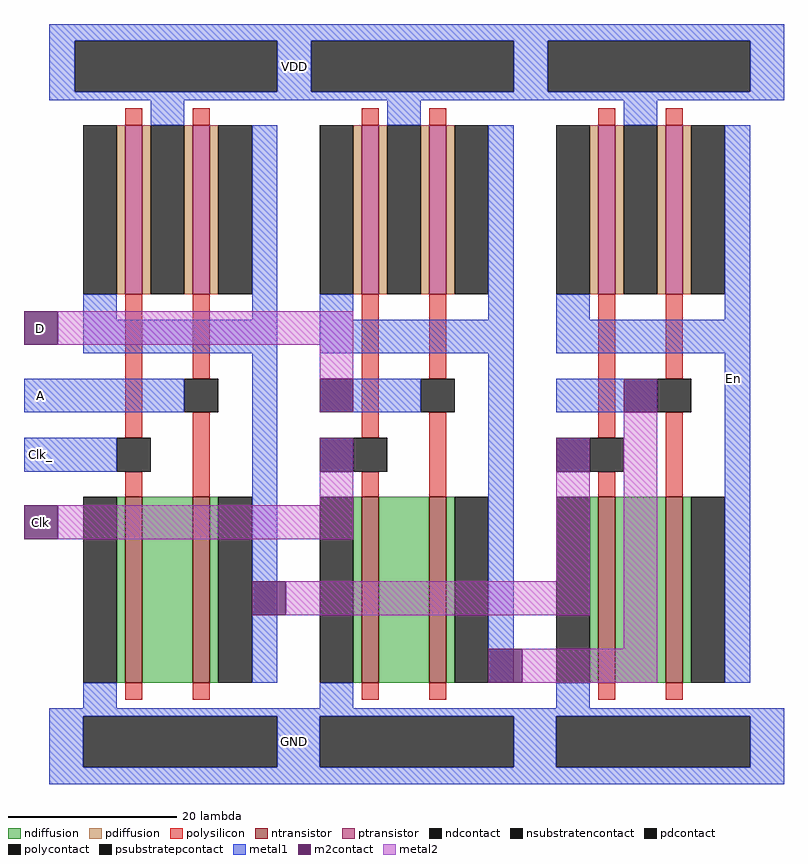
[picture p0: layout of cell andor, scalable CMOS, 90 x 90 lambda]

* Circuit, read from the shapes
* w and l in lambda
.subckt andor A Clk Clk_ D En GND VDD
M1 n1 Clk_ GND GND nfet w=22 l=2
M2 nand_2/A A n1 GND nfet w=22 l=2
M3 n2 Clk GND GND nfet w=22 l=2
M4 nand_2/B D n2 GND nfet w=22 l=2
M5 n3 nand_2/A GND GND nfet w=22 l=2
M6 En nand_2/B n3 GND nfet w=22 l=2
M7 VDD Clk_ nand_2/A VDD pfet w=20 l=2
M8 nand_2/A A VDD VDD pfet w=20 l=2
M9 VDD Clk nand_2/B VDD pfet w=20 l=2
M10 nand_2/B D VDD VDD pfet w=20 l=2
M11 VDD nand_2/A En VDD pfet w=20 l=2
M12 En nand_2/B VDD VDD pfet w=20 l=2
.ends

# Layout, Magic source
magic
tech scmos
<< metal1 >>
rect 0 94 87 95
rect 28 89 30 91
rect -3 49 4 53
rect 80 49 83 55
rect -3 42 8 46
rect 28 9 30 11
rect 0 5 87 6
<< m2contact >>
rect -3 57 1 61
rect 32 49 36 53
rect 68 49 72 53
rect 32 42 36 46
rect 60 42 64 46
rect -3 34 1 38
rect 24 25 28 29
rect 52 17 56 21
<< metal2 >>
rect 1 57 36 61
rect 32 53 36 57
rect 32 38 36 42
rect 1 34 36 38
rect 60 29 64 42
rect 28 25 64 29
rect 68 21 72 49
rect 56 17 72 21
use nand  nand_0
transform 1 0 23 0 1 67
box -23 -61 8 27
use nand  nand_1
transform 1 0 51 0 1 67
box -23 -61 8 27
use nand  nand_2
transform 1 0 79 0 1 67
box -23 -61 8 27
<< labels >>
rlabel m2contact -1 59 -1 59 1 D
rlabel m2contact -1 36 -1 36 1 Clk
rlabel metal1 -1 51 -1 51 1 A
rlabel metal1 -1 44 -1 44 1 Clk_
rlabel metal1 28 89 30 91 1 VDD
rlabel metal1 28 9 30 11 1 GND
rlabel metal1 81 53 81 53 1 En
<< end >>

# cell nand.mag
magic
tech scmos
<< ntransistor >>
rect -14 -50 -12 -28
rect -6 -50 -4 -28
<< ptransistor >>
rect -14 -4 -12 16
rect -6 -4 -4 16
<< ndiffusion >>
rect -15 -50 -14 -28
rect -12 -50 -6 -28
rect -4 -50 -3 -28
<< pdiffusion >>
rect -15 -4 -14 16
rect -12 -4 -11 16
rect -7 -4 -6 16
rect -4 -4 -3 16
<< ndcontact >>
rect -19 -50 -15 -28
rect -3 -50 1 -28
<< pdcontact >>
rect -19 -4 -15 16
rect -11 -4 -7 16
rect -3 -4 1 16
<< psubstratepcontact >>
rect -19 -60 4 -54
<< nsubstratencontact >>
rect -20 20 4 26
<< polysilicon >>
rect -14 16 -12 18
rect -6 16 -4 18
rect -14 -21 -12 -4
rect -6 -14 -4 -4
rect -14 -28 -12 -25
rect -6 -28 -4 -18
rect -14 -52 -12 -50
rect -6 -52 -4 -50
<< polycontact >>
rect -7 -18 -3 -14
rect -15 -25 -11 -21
<< metal1 >>
rect -23 26 8 27
rect -23 20 -20 26
rect 4 20 8 26
rect -23 19 8 20
rect -11 16 -7 19
rect -19 -7 -15 -4
rect 1 -7 4 16
rect -19 -11 4 -7
rect -19 -18 -7 -14
rect -19 -25 -15 -21
rect 1 -50 4 -11
rect -19 -53 -15 -50
rect -23 -54 8 -53
rect -23 -60 -19 -54
rect 4 -60 8 -54
rect -23 -61 8 -60
<< labels >>
rlabel metal1 2 -16 2 -16 0 OUT
rlabel metal1 -17 -23 -17 -23 0 A
rlabel metal1 -17 -16 -17 -16 0 B
<< end >>
